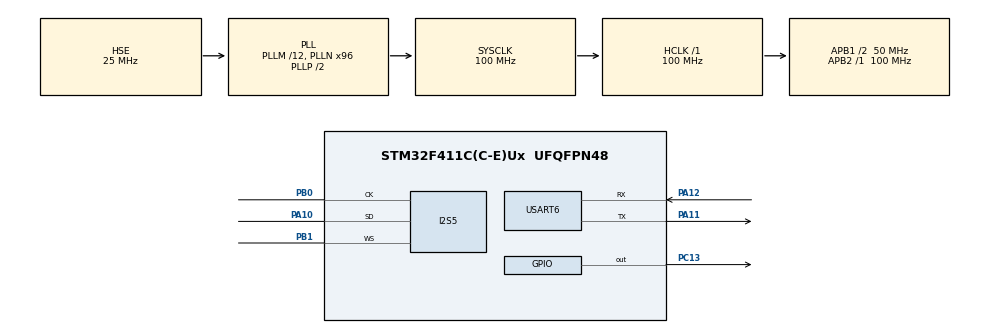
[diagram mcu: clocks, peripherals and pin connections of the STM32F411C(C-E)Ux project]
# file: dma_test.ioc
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Dma.Request0=SPI5_RX
Dma.SPI5_RX.0.Direction=DMA_PERIPH_TO_MEMORY
Dma.SPI5_RX.0.FIFOMode=DMA_FIFOMODE_DISABLE
Dma.SPI5_RX.0.Instance=DMA2_Stream5
Dma.SPI5_RX.0.MemDataAlignment=DMA_MDATAALIGN_HALFWORD
Dma.SPI5_RX.0.MemInc=DMA_MINC_ENABLE
Dma.SPI5_RX.0.Mode=DMA_CIRCULAR
Dma.SPI5_RX.0.PeriphDataAlignment=DMA_PDATAALIGN_HALFWORD
Dma.SPI5_RX.0.PeriphInc=DMA_PINC_DISABLE
Dma.SPI5_RX.0.Priority=DMA_PRIORITY_LOW
I2S5.AudioFreq=I2S_AUDIOFREQ_48K
I2S5.CPOL=I2S_CPOL_LOW
I2S5.DataFormat=I2S_DATAFORMAT_16B
I2S5.ErrorAudioFreq=0.0 %
I2S5.FullDuplexMode=I2S_FULLDUPLEXMODE_DISABLE
I2S5.Instance=SPI$Index
I2S5.Mode=I2S_MODE_SLAVE_RX
I2S5.RealAudioFreq=48.0 KHz
I2S5.Standard=I2S_STANDARD_PHILIPS
I2S5.VirtualMode=I2S_MODE_SLAVE
Mcu.Family=STM32F4
Mcu.Name=STM32F411C(C-E)Ux
Mcu.Package=UFQFPN48
NVIC.DMA2_Stream5_IRQn=true\:0\:0\:false\:false\:true\:false\:true\:true
NVIC.PriorityGroup=NVIC_PRIORITYGROUP_4
NVIC.SPI5_IRQn=true\:0\:0\:false\:false\:true\:true\:true\:true
NVIC.TIM1_UP_TIM10_IRQn=true\:0\:0\:false\:false\:true\:true\:true\:true
PA10.GPIO_PuPd=GPIO_NOPULL
PA10.GPIO_Speed=GPIO_SPEED_FREQ_LOW
PA10.Mode=Half_Duplex_Slave
PA10.Signal=I2S5_SD
PA11.Mode=Asynchronous
PA11.Signal=USART6_TX
PA12.Mode=Asynchronous
PA12.Signal=USART6_RX
PB0.GPIO_PuPd=GPIO_NOPULL
PB0.GPIO_Speed=GPIO_SPEED_FREQ_LOW
PB0.Mode=Half_Duplex_Slave
PB0.Signal=I2S5_CK
PB1.GPIO_PuPd=GPIO_NOPULL
PB1.GPIO_Speed=GPIO_SPEED_FREQ_LOW
PB1.Mode=Half_Duplex_Slave
PB1.Signal=I2S5_WS
PC13-ANTI_TAMP.PinState=GPIO_PIN_SET
PC13-ANTI_TAMP.Signal=GPIO_Output
PC14-OSC32_IN.Mode=LSE-External-Oscillator
PC14-OSC32_IN.Signal=RCC_OSC32_IN
PC15-OSC32_OUT.Mode=LSE-External-Oscillator
PC15-OSC32_OUT.Signal=RCC_OSC32_OUT
PH0\ -\ OSC_IN.Mode=HSE-External-Oscillator
PH0\ -\ OSC_IN.Signal=RCC_OSC_IN
PH1\ -\ OSC_OUT.Mode=HSE-External-Oscillator
PH1\ -\ OSC_OUT.Signal=RCC_OSC_OUT
ProjectManager.HeapSize=0x200
ProjectManager.StackSize=0x400
ProjectManager.TargetToolchain=STM32CubeIDE
RCC.48MHZClocksFreq_Value=50000000
RCC.AHBFreq_Value=100000000
RCC.APB1CLKDivider=RCC_HCLK_DIV2
RCC.APB1Freq_Value=50000000
RCC.APB1TimFreq_Value=100000000
RCC.APB2Freq_Value=100000000
RCC.APB2TimFreq_Value=100000000
RCC.CortexFreq_Value=100000000
RCC.HCLKFreq_Value=100000000
RCC.HSE_VALUE=25000000
RCC.HSI_VALUE=16000000
RCC.PLLI2SM=25
RCC.PLLI2SR=5
RCC.PLLM=12
RCC.PLLN=96
RCC.PLLSourceVirtual=RCC_PLLSOURCE_HSE
RCC.SYSCLKFreq_VALUE=100000000
RCC.SYSCLKSource=RCC_SYSCLKSOURCE_PLLCLK
RCC.VCOOutputFreq_Value=200000000
TIM10.Period=50000-1
TIM10.Prescaler=1000-1
USART6.VirtualMode=VM_ASYNC
VP_TIM10_VS_ClockSourceINT.Mode=Enable_Timer
board=custom

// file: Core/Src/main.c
/* USER CODE BEGIN Header */
/**
  ******************************************************************************
  * @file           : main.c
  * @brief          : Main program body
  ******************************************************************************
  * @attention
  *
  * Copyright (c) 2024 STMicroelectronics.
  * All rights reserved.
  *
  * This software is licensed under terms that can be found in the LICENSE file
  * in the root directory of this software component.
  * If no LICENSE file comes with this software, it is provided AS-IS.
  *
  ******************************************************************************
  */
/* USER CODE END Header */
#include "main.h"

/* USER CODE BEGIN Includes */
#include <stdio.h>
/* USER CODE END Includes */

/* USER CODE BEGIN PM */
#define count_of(X)		(sizeof(X)/sizeof(X[0]))
/* USER CODE END PM */

I2S_HandleTypeDef hi2s5;
DMA_HandleTypeDef hdma_spi5_rx;

TIM_HandleTypeDef htim10;

UART_HandleTypeDef huart6;

/* USER CODE BEGIN PV */
static uint16_t i2sbuf[8192];
//static uint16_t ch1, ch2;
volatile int busy_flag = 0;
volatile int process_f = 0;
/* USER CODE END PV */

void SystemClock_Config(void);
static void MX_GPIO_Init(void);
static void MX_DMA_Init(void);
static void MX_I2S5_Init(void);
static void MX_TIM10_Init(void);
static void MX_USART6_UART_Init(void);

/* USER CODE BEGIN 0 */
// to get printf() work
int __io_putchar(int ch)
{
    static uint8_t cr = '\r';
    if (ch == '\n')
        HAL_UART_Transmit(&huart6, &cr, 1, HAL_MAX_DELAY);
    HAL_UART_Transmit(&huart6, (uint8_t *)&ch, 1, HAL_MAX_DELAY);
    return ch;
}
/* USER CODE END 0 */

int main(void)
{

  /* MCU Configuration--------------------------------------------------------*/

  /* Reset of all peripherals, Initializes the Flash interface and the Systick. */
  HAL_Init();

  /* Configure the system clock */
  SystemClock_Config();

  /* Initialize all configured peripherals */
  MX_GPIO_Init();
  MX_DMA_Init();
  MX_I2S5_Init();
  MX_TIM10_Init();
  MX_USART6_UART_Init();
  /* USER CODE BEGIN 2 */
  HAL_I2S_Receive_DMA(&hi2s5, i2sbuf, count_of(i2sbuf));
  HAL_TIM_Base_Start_IT(&htim10);
  /* USER CODE END 2 */

  /* Infinite loop */
  /* USER CODE BEGIN WHILE */
  while (1)
  {
    busy_flag = 1;
    while (busy_flag != 0);
    if (process_f != 0) {
	    uint32_t eq = 0;
	    for (int i = 0; i < count_of(i2sbuf)/2; i++) {
	      uint16_t a = i2sbuf[2*i+0];
	      uint16_t b = i2sbuf[2*i+1];
	      eq +=( a == b);
	    }
	    printf("eq: %4lu of %4d\n", eq, count_of(i2sbuf)/2);
      process_f = 0;
    }
    /* USER CODE END WHILE */

  }
}

void SystemClock_Config(void)
{
  RCC_OscInitTypeDef RCC_OscInitStruct = {0};
  RCC_ClkInitTypeDef RCC_ClkInitStruct = {0};

  /** Configure the main internal regulator output voltage
  */
  __HAL_RCC_PWR_CLK_ENABLE();
  __HAL_PWR_VOLTAGESCALING_CONFIG(PWR_REGULATOR_VOLTAGE_SCALE1);

  /** Initializes the RCC Oscillators according to the specified parameters
  * in the RCC_OscInitTypeDef structure.
  */
  RCC_OscInitStruct.OscillatorType = RCC_OSCILLATORTYPE_HSE;
  RCC_OscInitStruct.HSEState = RCC_HSE_ON;
  RCC_OscInitStruct.PLL.PLLState = RCC_PLL_ON;
  RCC_OscInitStruct.PLL.PLLSource = RCC_PLLSOURCE_HSE;
  RCC_OscInitStruct.PLL.PLLM = 12;
  RCC_OscInitStruct.PLL.PLLN = 96;
  RCC_OscInitStruct.PLL.PLLP = RCC_PLLP_DIV2;
  RCC_OscInitStruct.PLL.PLLQ = 4;
  if (HAL_RCC_OscConfig(&RCC_OscInitStruct) != HAL_OK)
  {
    Error_Handler();
  }

  /** Initializes the CPU, AHB and APB buses clocks
  */
  RCC_ClkInitStruct.ClockType = RCC_CLOCKTYPE_HCLK|RCC_CLOCKTYPE_SYSCLK
                              |RCC_CLOCKTYPE_PCLK1|RCC_CLOCKTYPE_PCLK2;
  RCC_ClkInitStruct.SYSCLKSource = RCC_SYSCLKSOURCE_PLLCLK;
  RCC_ClkInitStruct.AHBCLKDivider = RCC_SYSCLK_DIV1;
  RCC_ClkInitStruct.APB1CLKDivider = RCC_HCLK_DIV2;
  RCC_ClkInitStruct.APB2CLKDivider = RCC_HCLK_DIV1;

  if (HAL_RCC_ClockConfig(&RCC_ClkInitStruct, FLASH_LATENCY_3) != HAL_OK)
  {
    Error_Handler();
  }
}

static void MX_I2S5_Init(void)
{

  hi2s5.Instance = SPI5;
  hi2s5.Init.Mode = I2S_MODE_SLAVE_RX;
  hi2s5.Init.Standard = I2S_STANDARD_PHILIPS;
  hi2s5.Init.DataFormat = I2S_DATAFORMAT_16B;
  hi2s5.Init.MCLKOutput = I2S_MCLKOUTPUT_DISABLE;
  hi2s5.Init.AudioFreq = I2S_AUDIOFREQ_48K;
  hi2s5.Init.CPOL = I2S_CPOL_LOW;
  hi2s5.Init.ClockSource = I2S_CLOCK_PLL;
  hi2s5.Init.FullDuplexMode = I2S_FULLDUPLEXMODE_DISABLE;
  if (HAL_I2S_Init(&hi2s5) != HAL_OK)
  {
    Error_Handler();
  }
  /* USER CODE BEGIN I2S5_Init 2 */
  // i2s hardware bug workaround, need manually sync with WS signal
  // https://www.st.com/resource/en/errata_sheet/es0287-stm32f411xcxe-device-errata-stmicroelectronics.pdf
  // https://community.st.com/t5/stm32-mcus-products/stm32f407-i2s-interface-sync-in-slave-mode/m-p/416071
  // depends on I2S port configuration and communication standard, see the links above for details
  // the code below is for I2S5 port that configured for PHILIPS standard
  // in case of I2S5 WS is GPIO port B pin 1
  while ((GPIOB->IDR & 0x00000002U) == 0) {}
  while ((GPIOB->IDR & 0x00000002U) != 0) {}
  while ((GPIOB->IDR & 0x00000002U) == 0) {}
  // I2S must be enabled after synchronization
  SPI5->I2SCFGR |= 0x400;       // enable I2S
  /* USER CODE END I2S5_Init 2 */

}

static void MX_TIM10_Init(void)
{

  htim10.Instance = TIM10;
  htim10.Init.Prescaler = 1000-1;
  htim10.Init.CounterMode = TIM_COUNTERMODE_UP;
  htim10.Init.Period = 50000-1;
  htim10.Init.ClockDivision = TIM_CLOCKDIVISION_DIV1;
  htim10.Init.AutoReloadPreload = TIM_AUTORELOAD_PRELOAD_DISABLE;
  if (HAL_TIM_Base_Init(&htim10) != HAL_OK)
  {
    Error_Handler();
  }

}

static void MX_USART6_UART_Init(void)
{

  huart6.Instance = USART6;
  huart6.Init.BaudRate = 115200;
  huart6.Init.WordLength = UART_WORDLENGTH_8B;
  huart6.Init.StopBits = UART_STOPBITS_1;
  huart6.Init.Parity = UART_PARITY_NONE;
  huart6.Init.Mode = UART_MODE_TX_RX;
  huart6.Init.HwFlowCtl = UART_HWCONTROL_NONE;
  huart6.Init.OverSampling = UART_OVERSAMPLING_16;
  if (HAL_UART_Init(&huart6) != HAL_OK)
  {
    Error_Handler();
  }

}

static void MX_DMA_Init(void)
{

  /* DMA controller clock enable */
  __HAL_RCC_DMA2_CLK_ENABLE();

  /* DMA interrupt init */
  /* DMA2_Stream5_IRQn interrupt configuration */
  HAL_NVIC_SetPriority(DMA2_Stream5_IRQn, 0, 0);
  HAL_NVIC_EnableIRQ(DMA2_Stream5_IRQn);

}

static void MX_GPIO_Init(void)
{
  GPIO_InitTypeDef GPIO_InitStruct = {0};

  /* GPIO Ports Clock Enable */
  __HAL_RCC_GPIOC_CLK_ENABLE();
  __HAL_RCC_GPIOH_CLK_ENABLE();
  __HAL_RCC_GPIOB_CLK_ENABLE();
  __HAL_RCC_GPIOA_CLK_ENABLE();

  /*Configure GPIO pin Output Level */
  HAL_GPIO_WritePin(GPIOC, GPIO_PIN_13, GPIO_PIN_SET);

  /*Configure GPIO pin : PC13 */
  GPIO_InitStruct.Pin = GPIO_PIN_13;
  GPIO_InitStruct.Mode = GPIO_MODE_OUTPUT_PP;
  GPIO_InitStruct.Pull = GPIO_NOPULL;
  GPIO_InitStruct.Speed = GPIO_SPEED_FREQ_LOW;
  HAL_GPIO_Init(GPIOC, &GPIO_InitStruct);

}

/* USER CODE BEGIN 4 */
void HAL_I2S_RxCpltCallback(I2S_HandleTypeDef *hi2s)
{
//  ch1 = i2sbuf[0];
//  ch2 = i2sbuf[1];
  busy_flag = 0;
}

void HAL_TIM_PeriodElapsedCallback(TIM_HandleTypeDef* htim)
{
  process_f = 1;
  HAL_GPIO_TogglePin(GPIOC, GPIO_PIN_13);
//  printf("%6hi : %6hi\n", ch1, ch2);
}
/* USER CODE END 4 */

void Error_Handler(void)
{
  __disable_irq();
  while (1)
  {
  }
}
